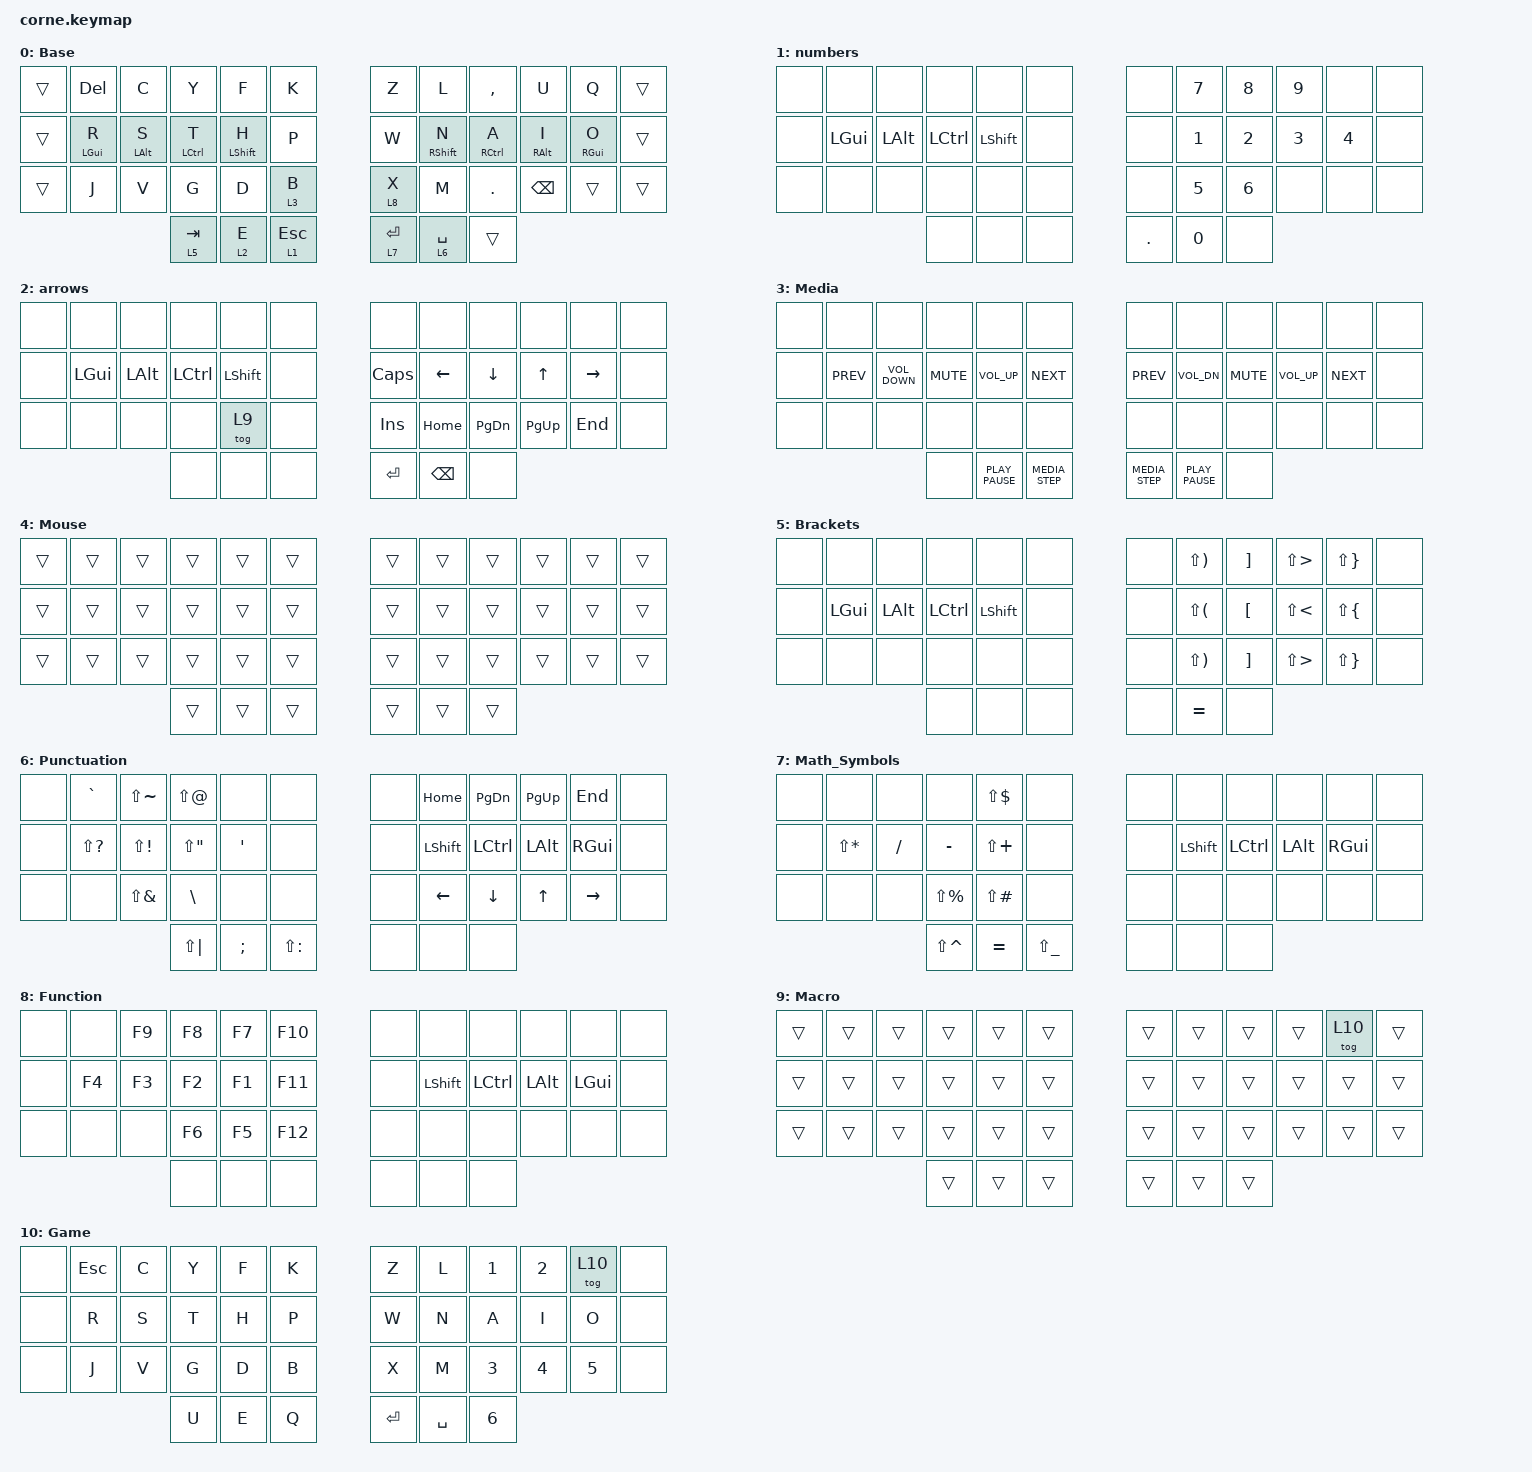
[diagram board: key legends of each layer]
/*
 * Copyright (c) 2020 The ZMK Contributors
 *
 * SPDX-License-Identifier: MIT
 */

#include <behaviors.dtsi>
#include <dt-bindings/zmk/keys.h>

/ {
    keymap {
        compatible = "zmk,keymap";

        Base {
            // -----------------------------------------------------------------------------------------
            // |  TAB |  Q  |  W  |  E  |  R  |  T  |   |  Y  |  U   |  I  |  O  |  P  | BKSP |
            // | CTRL |  A  |  S  |  D  |  F  |  G  |   |  H  |  J   |  K  |  L  |  ;  |  '   |
            // | SHFT |  Z  |  X  |  C  |  V  |  B  |   |  N  |  M   |  ,  |  .  |  /  | ESC  |
            //                    | GUI | LWR | SPC |   | ENT | RSE  | ALT |

            label = "Base";
            bindings = <
&trans  &kp DEL         &kp C           &kp Y        &kp F        &kp K           &kp Z        &kp L        &kp COMMA    &kp U            &kp Q            &trans
&trans  &mt LEFT_GUI R  &mt LEFT_ALT S  &mt LCTRL T  &mt LSHFT H  &kp P           &kp W        &mt RSHFT N  &mt RCTRL A  &mt RIGHT_ALT I  &mt RIGHT_GUI O  &trans
&trans  &kp J           &kp V           &kp G        &kp D        &lt 3 B         &lt 8 X      &kp M        &kp PERIOD   &kp BACKSPACE    &trans           &trans
                                        &lt 5 TAB    &lt 2 E      &lt 1 ESCAPE    &lt 7 ENTER  &lt 6 SPACE  &trans
            >;
        };

        Numbers {
            // -----------------------------------------------------------------------------------------
            // |  TAB |  1  |  2  |  3  |  4  |  5  |   |  6  |  7  |  8  |  9  |  0  | BKSP |
            // | BTCLR| BT1 | BT2 | BT3 | BT4 | BT5 |   | LFT | DWN |  UP | RGT |     |      |
            // | SHFT |     |     |     |     |     |   |     |     |     |     |     |      |
            //                    | GUI |     | SPC |   | ENT |     | ALT |

            label = "numbers";
            bindings = <
&none  &none         &none         &none      &none      &none    &none       &kp NUMBER_7  &kp NUMBER_8  &kp NUMBER_9  &none         &none
&none  &kp LEFT_GUI  &kp LEFT_ALT  &kp LCTRL  &kp LSHFT  &none    &none       &kp NUMBER_1  &kp NUMBER_2  &kp NUMBER_3  &kp NUMBER_4  &none
&none  &none         &none         &none      &none      &none    &none       &kp NUMBER_5  &kp NUMBER_6  &none         &none         &none
                                   &none      &none      &none    &kp PERIOD  &kp NUMBER_0  &none
            >;
        };

        Arrows {
            label = "arrows";
            bindings = <
&none  &none         &none         &none      &none      &none    &none      &none          &none          &none         &none      &none
&none  &kp LEFT_GUI  &kp LEFT_ALT  &kp LCTRL  &kp LSHFT  &none    &kp CAPS   &kp LEFT       &kp DOWN       &kp UP_ARROW  &kp RIGHT  &none
&none  &none         &none         &none      &tog 9     &none    &kp INS    &kp HOME       &kp PAGE_DOWN  &kp PG_UP     &kp END    &none
                                   &none      &none      &none    &kp ENTER  &kp BACKSPACE  &none
            >;
        };

        Media {
            bindings = <
&none  &none       &none              &none       &none             &none               &none             &none             &none       &none         &none       &none
&none  &kp K_PREV  &kp K_VOLUME_DOWN  &kp K_MUTE  &kp K_VOL_UP      &kp K_NEXT          &kp K_PREV        &kp K_VOL_DN      &kp K_MUTE  &kp K_VOL_UP  &kp K_NEXT  &none
&none  &none       &none              &none       &none             &none               &none             &none             &none       &none         &none       &none
                                      &none       &kp K_PLAY_PAUSE  &kp C_MEDIA_STEP    &kp C_MEDIA_STEP  &kp K_PLAY_PAUSE  &none
            >;
        };

        Mouse {
            bindings = <
&trans  &trans  &trans  &trans  &trans  &trans    &trans  &trans  &trans  &trans  &trans  &trans
&trans  &trans  &trans  &trans  &trans  &trans    &trans  &trans  &trans  &trans  &trans  &trans
&trans  &trans  &trans  &trans  &trans  &trans    &trans  &trans  &trans  &trans  &trans  &trans
                        &trans  &trans  &trans    &trans  &trans  &trans
            >;
        };

        Brackets {
            bindings = <
&none  &none     &none     &none      &none      &none    &none  &kp LS(RPAR)  &kp RBKT  &kp LS(GT)  &kp LS(RBRC)  &none
&none  &kp LGUI  &kp LALT  &kp LCTRL  &kp LSHFT  &none    &none  &kp LS(LPAR)  &kp LBKT  &kp LS(LT)  &kp LS(LBRC)  &none
&none  &none     &none     &none      &none      &none    &none  &kp LS(RPAR)  &kp RBKT  &kp LS(GT)  &kp LS(RBRC)  &none
                           &none      &none      &none    &none  &kp EQUAL     &none
            >;
        };

        Punctuation {
            bindings = <
&none  &kp GRAVE      &kp LS(TILDE)  &kp LS(AT)    &none     &none            &none  &kp HOME   &kp PG_DN  &kp PG_UP  &kp END    &none
&none  &kp LS(QMARK)  &kp LS(EXCL)   &kp LS(DQT)   &kp SQT   &none            &none  &kp LSHFT  &kp LCTRL  &kp LALT   &kp RGUI   &none
&none  &none          &kp LS(AMPS)   &kp BSLH      &none     &none            &none  &kp LEFT   &kp DOWN   &kp UP     &kp RIGHT  &none
                                     &kp LS(PIPE)  &kp SEMI  &kp LS(COLON)    &none  &none      &none
            >;
        };

        Math_Symbols {
            bindings = <
&none  &none         &none     &none          &kp LS(DLLR)   &none            &none  &none      &none      &none     &none     &none
&none  &kp LS(STAR)  &kp FSLH  &kp MINUS      &kp LS(PLUS)   &none            &none  &kp LSHFT  &kp LCTRL  &kp LALT  &kp RGUI  &none
&none  &none         &none     &kp LS(PRCNT)  &kp LS(POUND)  &none            &none  &none      &none      &none     &none     &none
                               &kp LS(CARET)  &kp EQUAL      &kp LS(UNDER)    &none  &none      &none
            >;
        };

        Function {
            bindings = <
&none  &none   &kp F9  &kp F8  &kp F7  &kp F10    &none  &none      &none      &none     &none     &none
&none  &kp F4  &kp F3  &kp F2  &kp F1  &kp F11    &none  &kp LSHFT  &kp LCTRL  &kp LALT  &kp LGUI  &none
&none  &none   &none   &kp F6  &kp F5  &kp F12    &none  &none      &none      &none     &none     &none
                       &none   &none   &none      &none  &none      &none
            >;
        };

        Macro {
            bindings = <
&trans  &trans  &trans  &trans  &trans  &trans    &trans  &trans  &trans  &trans  &tog 10  &trans
&trans  &trans  &trans  &trans  &trans  &trans    &trans  &trans  &trans  &trans  &trans   &trans
&trans  &trans  &trans  &trans  &trans  &trans    &trans  &trans  &trans  &trans  &trans   &trans
                        &trans  &trans  &trans    &trans  &trans  &trans
            >;
        };

        Game {
            bindings = <
&none  &kp ESC  &kp C  &kp Y  &kp F  &kp K    &kp Z    &kp L      &kp N1  &kp N2  &tog 10  &none
&none  &kp R    &kp S  &kp T  &kp H  &kp P    &kp W    &kp N      &kp A   &kp I   &kp O    &none
&none  &kp J    &kp V  &kp G  &kp D  &kp B    &kp X    &kp M      &kp N3  &kp N4  &kp N5   &none
                       &kp U  &kp E  &kp Q    &kp RET  &kp SPACE  &kp N6
            >;
        };
    };
};

&nice_view_spi { cs-gpios = <&pro_micro 0 GPIO_ACTIVE_HIGH>; };
